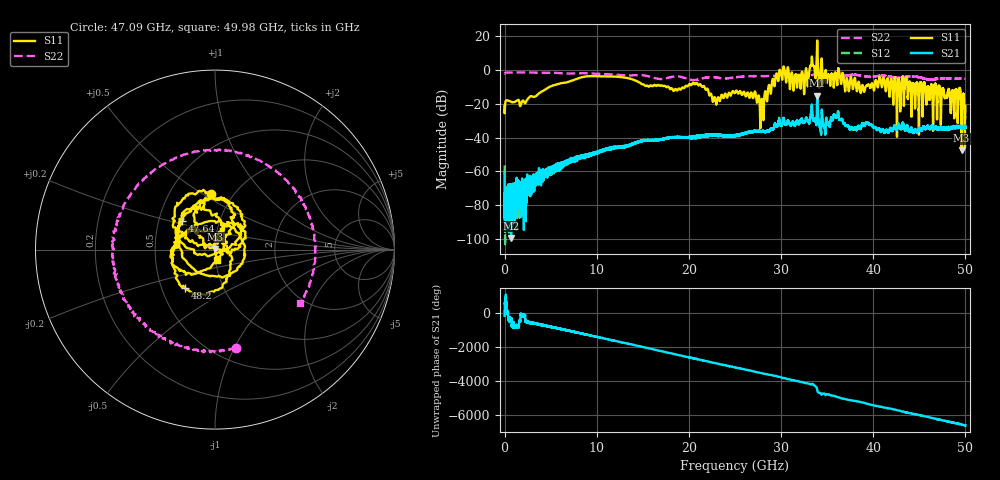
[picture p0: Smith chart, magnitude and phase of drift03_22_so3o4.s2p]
!Created with skrf (http://scikit-rf.org).
# Hz S RI R 50.0
!freq ReS11 ImS11 ReS21 ImS21 ReS12 ImS12 ReS22 ImS22
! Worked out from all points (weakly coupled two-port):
!   10001 points, 300 kHz to 50 GHz, reference 50 ohm
!   highest |S21| = -15.12 dB at 33.92 GHz (marker M1); lowest = -99.5 dB at 710.3 MHz (marker M2)
!   lowest |S11| = -47.4 dB at 49.59 GHz (marker M3), VSWR 1.01, Z = 50.2 + j0.367 ohm
!   |S11| at or under -10 dB: start of sweep to 4.85 GHz; 21.69 GHz to 28.62 GHz (6.933 GHz wide, 27.6 % of centre); 47.19 GHz to end of sweep (the widest 3 of 41)
!   |S22| runs from -5.9 to -1.3 dB; largest |S21 - S12| = 0.018
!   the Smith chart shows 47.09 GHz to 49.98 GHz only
!   S11 on the Smith chart (normalised r, x): 47.09 GHz: 0.79, +0.55; 47.64 GHz: 0.66, +0.22; 48.2 GHz: 0.66, -0.31; 49.98 GHz: 1.02, -0.11
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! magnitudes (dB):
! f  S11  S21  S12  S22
! 300 kHz  -21.3  -61.5  -56.5  -2.0
! 255.3 MHz  -17.9  -74.4  -79.4  -1.4
! 710.3 MHz  -18.9  -99.5  -75.8  -1.5
! 8.335 GHz  -4.3  -50.8  -51.4  -1.9
! 16.67 GHz  -8.8  -41.4  -41.4  -5.2
! 21.01 GHz  -8.7  -39.3  -39.4  -5.6
! 22.81 GHz  -16.1  -38.4  -38.7  -4.3
! 25 GHz  -13.4  -38.8  -38.5  -4.3
! 27.02 GHz  -15.7  -36.3  -36.3  -3.5
! 27.92 GHz  -17.1  -36.5  -36.5  -3.5
! 29.69 GHz  -6.5  -32.1  -31.7  -3.1
! 32.32 GHz  -1.5  -30.4  -30.6  -3.3
! 33.34 GHz  7.9  -20.4  -20.8  -2.9
! 33.92 GHz  17.6  -15.1  -15.6  -2.5
! 38.81 GHz  -8.9  -31.7  -31.9  -3.4
! 41.67 GHz  -9.0  -36.6  -36.6  -3.6
! 47.09 GHz  -10.1  -35.0  -34.8  -5.0
! 47.64 GHz  -12.4  -34.4  -34.4  -4.9
! 48.2 GHz  -11.3  -34.7  -34.4  -5.0
! 49.59 GHz  -47.4  -33.7  -33.9  -5.1
! 49.98 GHz  -24.8  -33.5  -34.2  -5.0
! 50 GHz  -21.2  -33.3  -33.6  -5.0
